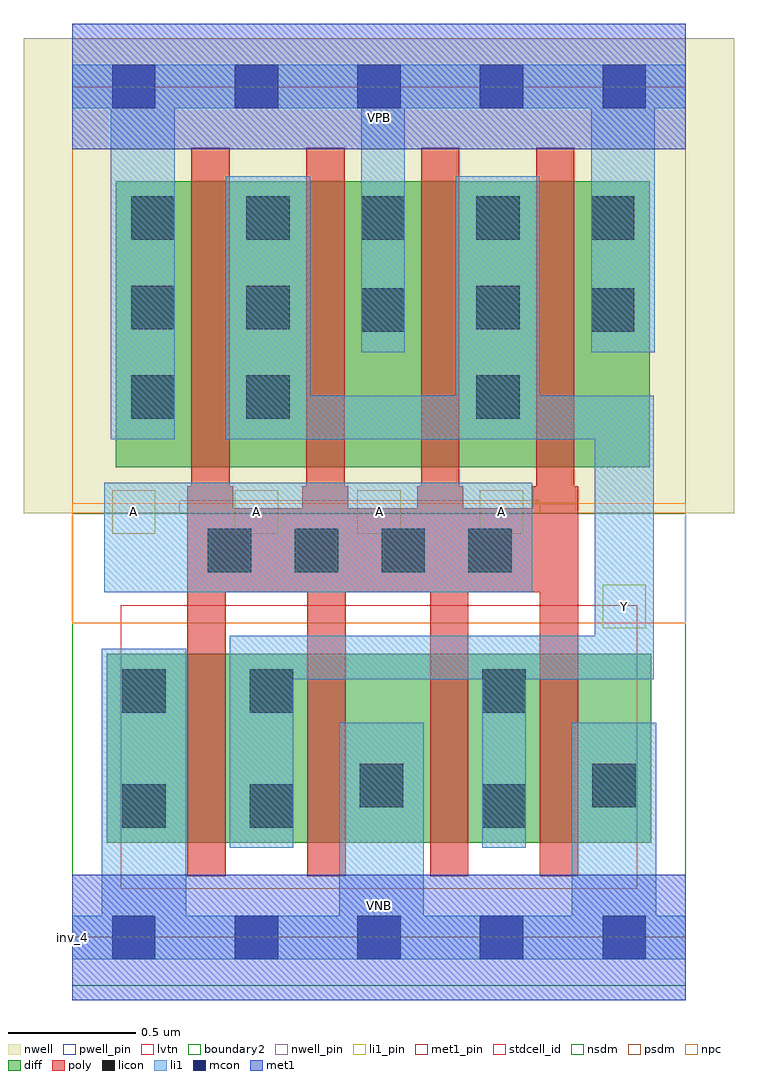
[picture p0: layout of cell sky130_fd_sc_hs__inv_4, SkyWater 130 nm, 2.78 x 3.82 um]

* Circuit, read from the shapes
.subckt sky130_fd_sc_hs__inv_4 A VGND VNB VPB VPWR Y
XM1 Y A VGND VNB sky130_fd_pr__nfet_01v8_lvt w=0.74 l=0.15 m=4
XM2 Y A VPWR VPB sky130_fd_pr__pfet_01v8 w=1.12 l=0.15 m=4
.ends

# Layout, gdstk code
import gdstk
lib = gdstk.Library(unit=1e-6, precision=1e-09)
def R(c, l, rs):  # rectangles x0, y0, x1, y1
    for r in rs: c.add(gdstk.rectangle(r[:2], r[2:], *l))
def A(c, l, x, y, w, h, nx, ny, dx, dy):  # array of equal rectangles
    R(c, l, [(x+i*dx, y+j*dy, x+i*dx+w, y+j*dy+h) for i in range(nx) for j in range(ny)])
def P(c, l, *ps):  # polygons
    for p in ps: c.add(gdstk.Polygon(p, *l))
nwell_pin = (64, 16)
nwell = (64, 20)
diff = (65, 20)
poly = (66, 20)
licon = (66, 44)
li1_pin = (67, 16)
li1 = (67, 20)
mcon = (67, 44)
met1_pin = (68, 16)
met1 = (68, 20)
stdcell_id = (81, 4)
nsdm = (93, 44)
psdm = (94, 20)
npc = (95, 20)
pwell_pin = (122, 16)
lvtn = (125, 44)
boundary2 = (236, 0)

sky130_fd_sc_hs__inv_4 = lib.new_cell('sky130_fd_sc_hs__inv_4')
R(sky130_fd_sc_hs__inv_4, nwell_pin, [(0,3.085,2.4,3.33)])
R(sky130_fd_sc_hs__inv_4, nwell, [(-0.19,1.66,2.59,3.52)])
R(sky130_fd_sc_hs__inv_4, diff, [(0.135,0.37,2.265,1.11), (0.17,1.84,2.26,2.96)])
P(sky130_fd_sc_hs__inv_4, poly, [(1.98,1.765),(1.965,1.765),(1.965,3.09),(1.815,3.09),(1.815,1.765),(1.8,1.765),(1.8,1.68),(1.53,1.68),(1.53,1.765),(1.515,1.765),(1.515,3.09),(1.365,3.09),(1.365,1.765),(1.35,1.765),(1.35,1.68),(1.08,1.68),(1.08,1.765),(1.065,1.765),(1.065,3.09),(0.915,3.09),(0.915,1.765),(0.9,1.765),(0.9,1.68),(0.63,1.68),(0.63,1.765),(0.615,1.765),(0.615,3.09),(0.465,3.09),(0.465,1.765),(0.45,1.765),(0.45,0.24),(0.6,0.24),(0.6,1.35),(0.92,1.35),(0.92,0.24),(1.07,0.24),(1.07,1.35),(1.4,1.35),(1.4,0.24),(1.55,0.24),(1.55,1.35),(1.83,1.35),(1.83,0.24),(1.98,0.24)])
A(sky130_fd_sc_hs__inv_4, licon, 0.53, 1.43, 0.17, 0.17, 4, 1, 0.34, 0)
A(sky130_fd_sc_hs__inv_4, licon, 0.23, 2.73, 0.17, 0.17, 5, 1, 0.45, 0)
R(sky130_fd_sc_hs__inv_4, licon, [(0.195,0.43,0.365,0.6), (0.695,0.43,0.865,0.6), (1.605,0.43,1.775,0.6), (1.125,0.51,1.295,0.68), (2.035,0.51,2.205,0.68), (0.195,0.88,0.365,1.05), (0.695,0.88,0.865,1.05), (1.605,0.88,1.775,1.05), (0.23,2.03,0.4,2.2), (0.68,2.03,0.85,2.2), (1.58,2.03,1.75,2.2), (1.13,2.37,1.3,2.54), (2.03,2.37,2.2,2.54), (0.23,2.38,0.4,2.55), (0.68,2.38,0.85,2.55), (1.58,2.38,1.75,2.55)])
A(sky130_fd_sc_hs__inv_4, li1_pin, 0.155, 1.58, 0.17, 0.17, 4, 1, 0.48, 0)
R(sky130_fd_sc_hs__inv_4, li1_pin, [(2.075,1.21,2.245,1.38)])
R(sky130_fd_sc_hs__inv_4, li1, [(0.125,1.35,1.8,1.78)])
P(sky130_fd_sc_hs__inv_4, li1, [(0,-0.085),(0,0.085),(0.115,0.085),(0.115,1.13),(0.445,1.13),(0.445,0.085),(1.045,0.085),(1.045,0.84),(1.375,0.84),(1.375,0.085),(1.955,0.085),(1.955,0.84),(2.285,0.84),(2.285,0.085),(2.4,0.085),(2.4,-0.085)],
  [(0,3.245),(0,3.415),(2.4,3.415),(2.4,3.245),(2.28,3.245),(2.28,2.29),(2.03,2.29),(2.03,3.245),(1.3,3.245),(1.3,2.29),(1.13,2.29),(1.13,3.245),(0.4,3.245),(0.4,1.95),(0.15,1.95),(0.15,3.245)],
  [(1.83,2.12),(2.275,2.12),(2.275,1.01),(1.775,1.01),(1.775,0.35),(1.605,0.35),(1.605,1.01),(0.865,1.01),(0.865,0.35),(0.615,0.35),(0.615,1.18),(2.045,1.18),(2.045,1.95),(0.6,1.95),(0.6,2.98),(0.93,2.98),(0.93,2.12),(1.5,2.12),(1.5,2.98),(1.83,2.98)])
A(sky130_fd_sc_hs__inv_4, mcon, 0.155, -0.085, 0.17, 0.17, 5, 2, 0.48, 3.33)
R(sky130_fd_sc_hs__inv_4, met1_pin, [(0,0,2.4,0.245), (0,3.085,2.4,3.33)])
R(sky130_fd_sc_hs__inv_4, met1, [(0,-0.245,2.4,0.245), (0,3.085,2.4,3.575)])
R(sky130_fd_sc_hs__inv_4, stdcell_id, [(0,0,2.4,3.33)])
R(sky130_fd_sc_hs__inv_4, nsdm, [(0,-0.19,2.4,1.66)])
P(sky130_fd_sc_hs__inv_4, psdm, [(2.4,3.52),(0,3.52),(0,1.66),(0.42,1.66),(0.42,1.71),(1.83,1.71),(1.83,1.66),(2.4,1.66)])
R(sky130_fd_sc_hs__inv_4, npc, [(0,1.23,2.4,1.7)])
R(sky130_fd_sc_hs__inv_4, pwell_pin, [(0,0,2.4,0.245)])
R(sky130_fd_sc_hs__inv_4, lvtn, [(0.19,0.19,2.21,1.3)])
R(sky130_fd_sc_hs__inv_4, boundary2, [(0,0,2.4,3.33)])
sky130_fd_sc_hs__inv_4.add(gdstk.Label('inv_4', (0,0), layer=83, texttype=44))
sky130_fd_sc_hs__inv_4.add(gdstk.Label('VNB', (1.2,0.123), layer=64, texttype=59))
sky130_fd_sc_hs__inv_4.add(gdstk.Label('VPB', (1.2,3.208), layer=64, texttype=5))
sky130_fd_sc_hs__inv_4.add(gdstk.Label('VPWR', (1.2,3.208), layer=68, texttype=5))
sky130_fd_sc_hs__inv_4.add(gdstk.Label('VGND', (1.2,0.123), layer=68, texttype=5))
sky130_fd_sc_hs__inv_4.add(gdstk.Label('Y', (2.16,1.295), layer=67, texttype=5))
sky130_fd_sc_hs__inv_4.add(gdstk.Label('A', (0.24,1.665), layer=67, texttype=5))
sky130_fd_sc_hs__inv_4.add(gdstk.Label('A', (0.72,1.665), layer=67, texttype=5))
sky130_fd_sc_hs__inv_4.add(gdstk.Label('A', (1.2,1.665), layer=67, texttype=5))
sky130_fd_sc_hs__inv_4.add(gdstk.Label('A', (1.68,1.665), layer=67, texttype=5))

lib.write_gds('sky130_fd_sc_hs__inv_4.gds')
